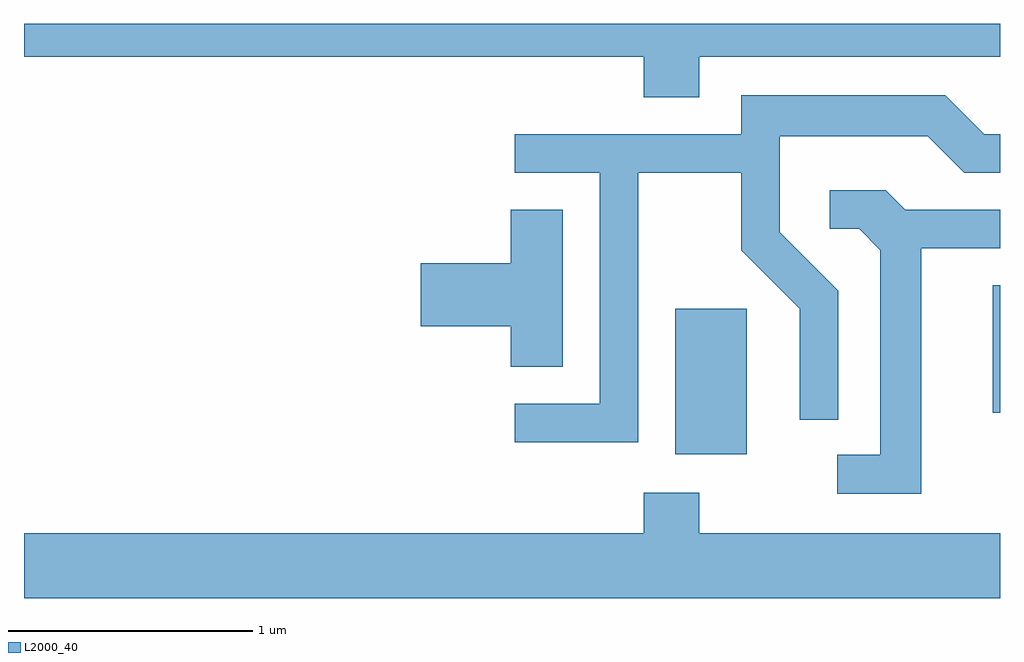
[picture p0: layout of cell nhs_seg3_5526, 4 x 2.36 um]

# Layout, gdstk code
import gdstk
lib = gdstk.Library(unit=1e-6, precision=1e-09)
def R(c, l, rs):  # rectangles x0, y0, x1, y1
    for r in rs: c.add(gdstk.rectangle(r[:2], r[2:], *l))
def P(c, l, *ps):  # polygons
    for p in ps: c.add(gdstk.Polygon(p, *l))
L2000_40 = (2000, 40)

nhs_seg3_5526 = lib.new_cell('nhs_seg3_5526')
R(nhs_seg3_5526, L2000_40, [(350.281,1162.126,350.574,1162.724), (351.581,1162.296,351.611,1162.819)])
P(nhs_seg3_5526, L2000_40, [(350.379,1163.756),(351.611,1163.756),(351.611,1163.892),(347.611,1163.892),(347.611,1163.756),(350.151,1163.756),(350.151,1163.591),(350.379,1163.591)],
  [(350.129,1163.281),(350.551,1163.281),(350.551,1162.964),(350.791,1162.724),(350.791,1162.268),(350.949,1162.268),(350.949,1162.797),(350.709,1163.037),(350.709,1163.431),(351.314,1163.431),(351.464,1163.281),(351.611,1163.281),(351.611,1163.439),(351.547,1163.439),(351.387,1163.599),(350.551,1163.599),(350.551,1163.439),(349.623,1163.439),(349.623,1163.281),(349.971,1163.281),(349.971,1162.334),(349.623,1162.334),(349.623,1162.176),(350.129,1162.176)],
  [(351.289,1162.971),(351.611,1162.971),(351.611,1163.129),(351.222,1163.129),(351.142,1163.209),(350.913,1163.209),(350.913,1163.051),(351.034,1163.051),(351.121,1162.964),(351.121,1162.124),(350.943,1162.124),(350.943,1161.966),(351.289,1161.966)],
  [(349.819,1163.129),(349.606,1163.129),(349.606,1162.909),(349.236,1162.909),(349.236,1162.651),(349.606,1162.651),(349.606,1162.486),(349.819,1162.486)],
  [(351.611,1161.804),(350.379,1161.804),(350.379,1161.969),(350.151,1161.969),(350.151,1161.804),(347.611,1161.804),(347.611,1161.536),(351.611,1161.536)])

lib.write_gds('nhs_seg3_5526.gds')
